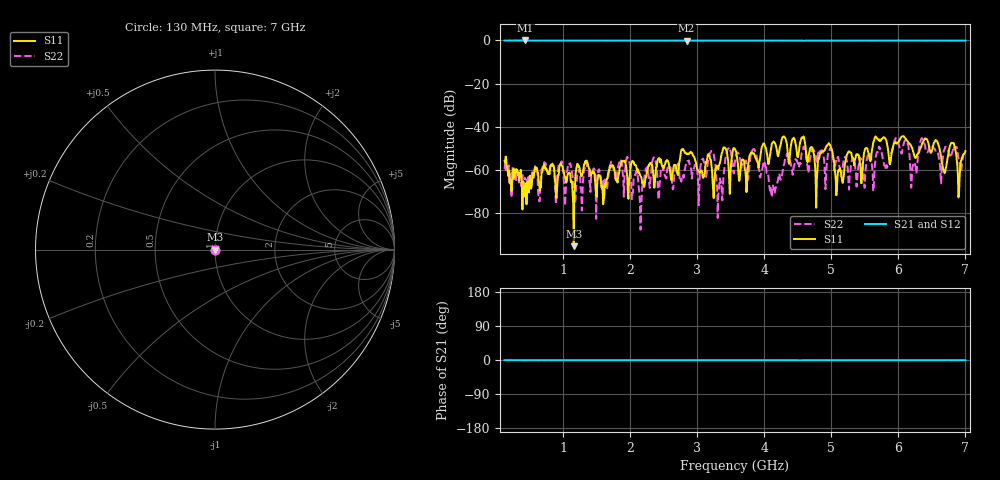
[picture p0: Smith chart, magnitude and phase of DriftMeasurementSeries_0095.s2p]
# Hz S RI R 50.000000
! Metas.Vna.Tools, 2.8.8664.20301
! Metas.Vna.Data, 2.8.8664.20285
! Created: UTC 2024.02.11 10:08:54
! FREQ  re:S1,1  im:S1,1  re:S2,1  im:S2,1  re:S1,2  im:S1,2  re:S2,2  im:S2,2
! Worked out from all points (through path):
!   801 points, 130 MHz to 7 GHz, reference 50 ohm
!   highest |S21| = -0.02 dB at 439.1 MHz (marker M1); lowest = -0.2 dB at 2.844 GHz (marker M2)
!   lowest |S11| = -95.5 dB at 1.161 GHz (marker M3), VSWR 1.00, Z = 50 + j0.00145 ohm
!   |S11| at or under -10 dB: start of sweep to end of sweep
!   |S22| runs from -87.8 to -45.3 dB; largest |S21 - S12| = 0.019
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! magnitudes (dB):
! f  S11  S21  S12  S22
! 130 MHz  -55.8  -0.1  0.0  -59.6
! 439.1 MHz  -72.1  0.0  0.0  -64.4
! 834.2 MHz  -57.4  0.0  0.0  -57.2
! 1.161 GHz  -95.5  -0.1  0.0  -66.6
! 1.281 GHz  -62.9  -0.1  0.0  -78.9
! 1.607 GHz  -74.5  -0.1  0.0  -65.1
! 2.423 GHz  -54.8  -0.1  0.0  -73.8
! 2.844 GHz  -52.3  -0.2  0.0  -56.7
! 3.221 GHz  -59.9  -0.1  0.0  -51.5
! 3.342 GHz  -56.6  -0.1  0.0  -64.1
! 3.453 GHz  -53.9  -0.1  0.0  -50.4
! 3.565 GHz  -50.6  -0.1  0.0  -55.8
! 3.848 GHz  -52.5  -0.1  0.0  -50.3
! 4.123 GHz  -47.5  -0.1  0.0  -69.5
! 4.716 GHz  -49.6  -0.1  0.0  -50.7
! 4.784 GHz  -65.0  -0.1  0.0  -56.4
! 4.973 GHz  -48.2  -0.1  0.0  -50.9
! 5.085 GHz  -68.5  -0.1  0.0  -56.2
! 5.858 GHz  -53.8  -0.1  0.0  -57.4
! 5.97 GHz  -47.7  -0.1  0.0  -45.6
! 6.21 GHz  -50.2  -0.1  0.0  -59.1
! 7 GHz  -51.3  -0.1  0.0  -52.1
